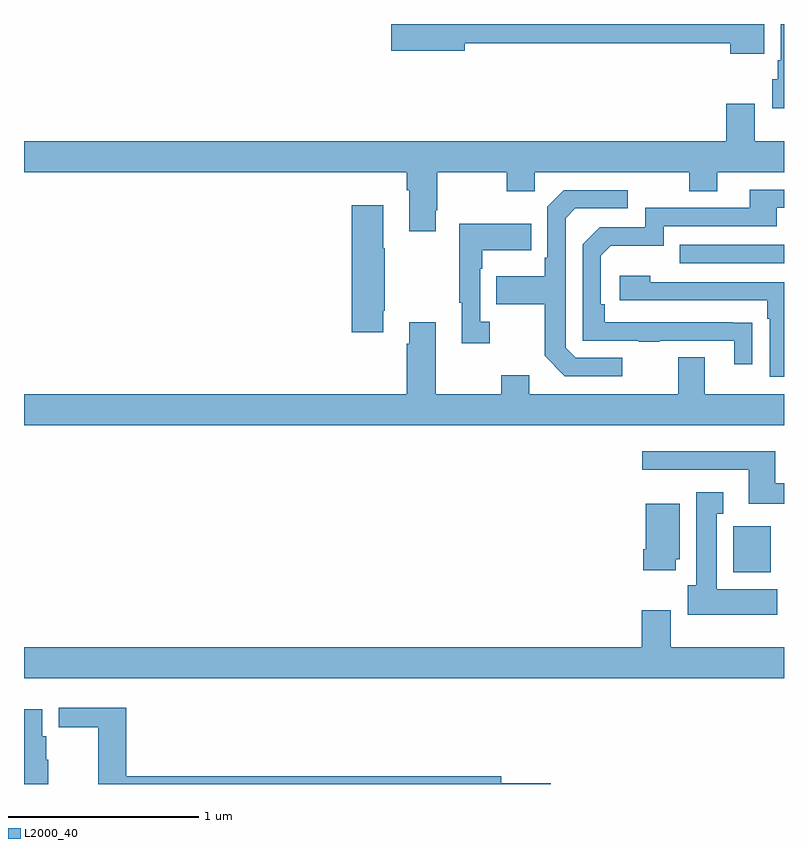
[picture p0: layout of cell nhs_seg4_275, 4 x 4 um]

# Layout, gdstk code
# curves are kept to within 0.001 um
import gdstk
lib = gdstk.Library(unit=1e-6, precision=1e-09)
def R(c, l, rs):  # rectangles x0, y0, x1, y1
    for r in rs: c.add(gdstk.rectangle(r[:2], r[2:], *l))
def P(c, l, *ps):  # polygons
    for p in ps: c.add(gdstk.Polygon(p, *l))
L2000_40 = (2000, 40)

nhs_seg4_275 = lib.new_cell('nhs_seg4_275')
R(nhs_seg4_275, L2000_40, [(126.734,828.014,126.931,828.256), (126.451,829.641,127,829.737)])
P(nhs_seg4_275, L2000_40, [(126.895,830.9),(124.932,830.9),(124.932,830.758),(125.32,830.758),(125.32,830.8),(126.716,830.8),(126.716,830.744),(126.895,830.744)],
  [(127,830.9),(126.983,830.9),(126.983,830.71),(126.968,830.71),(126.968,830.61),(126.938,830.61),(126.938,830.456),(127,830.456)],
  [(125.167,829.921),(125.175,829.921),(125.175,830.12),(125.542,830.12),(125.542,830.021),(125.688,830.021),(125.688,830.12),(126.502,830.12),(126.502,830.021),(126.649,830.021),(126.649,830.12),(127,830.12),(127,830.284),(126.847,830.284),(126.847,830.479),(126.695,830.479),(126.695,830.284),(123,830.284),(123,830.12),(125.015,830.12),(125.015,830.024),(125.027,830.024),(125.027,829.809),(125.167,829.809)],
  [(126.833,829.328),(126.056,829.329),(126.056,829.426),(126.036,829.426),(126.036,829.68),(126.089,829.733),(126.366,829.733),(126.366,829.836),(126.961,829.836),(126.961,829.932),(127,829.932),(127,830.028),(126.821,830.028),(126.821,829.932),(126.27,829.932),(126.27,829.83),(126.03,829.83),(125.94,829.74),(125.94,829.233),(126.235,829.233),(126.235,829.228),(126.347,829.228),(126.347,829.233),(126.737,829.233),(126.737,829.11),(126.833,829.11)],
  [(126.148,829.143),(125.904,829.143),(125.85,829.197),(125.85,829.878),(125.901,829.929),(126.178,829.929),(126.178,830.025),(125.841,830.025),(125.754,829.938),(125.754,829.669),(125.742,829.669),(125.742,829.573),(125.485,829.573),(125.485,829.426),(125.742,829.426),(125.742,829.153),(125.847,829.047),(126.148,829.047)],
  [(124.891,829.39),(124.899,829.39),(124.899,829.721),(124.891,829.721),(124.891,829.945),(124.724,829.945),(124.724,829.278),(124.891,829.278)],
  [(125.452,829.334),(125.4,829.334),(125.4,829.613),(125.413,829.613),(125.413,829.709),(125.669,829.709),(125.669,829.849),(125.292,829.849),(125.292,829.433),(125.303,829.433),(125.303,829.221),(125.452,829.221)],
  [(127,829.542),(126.296,829.542),(126.296,829.576),(126.135,829.576),(126.135,829.446),(126.911,829.446),(126.911,829.349),(126.924,829.349),(126.924,829.044),(127,829.044)],
  [(127,828.952),(126.583,828.952),(126.583,829.147),(126.443,829.147),(126.443,828.952),(125.659,828.952),(125.659,829.051),(125.512,829.051),(125.512,828.952),(125.167,828.952),(125.167,829.33),(125.027,829.33),(125.027,829.217),(125.015,829.217),(125.015,828.952),(123,828.952),(123,828.788),(127,828.788)],
  [(127,828.484),(126.955,828.484),(126.955,828.652),(126.255,828.652),(126.255,828.555),(126.815,828.555),(126.815,828.374),(127,828.374)],
  [(126.964,827.926),(126.646,827.926),(126.646,828.323),(126.679,828.323),(126.679,828.436),(126.539,828.436),(126.539,827.946),(126.494,827.946),(126.494,827.792),(126.964,827.792)],
  [(126.43,828.084),(126.451,828.084),(126.451,828.376),(126.272,828.376),(126.272,828.136),(126.26,828.136),(126.26,828.024),(126.43,828.024)],
  [(127,827.62),(126.403,827.62),(126.403,827.815),(126.251,827.815),(126.251,827.62),(123,827.62),(123,827.456),(127,827.456)],
  [(125.773,826.904),(125.512,826.904),(125.512,826.94),(123.539,826.94),(123.539,827.302),(123.183,827.302),(123.183,827.2),(123.392,827.2),(123.392,826.9),(125.773,826.9)],
  [(123.127,827.028),(123.118,827.028),(123.118,827.151),(123.097,827.151),(123.097,827.293),(123,827.293),(123,826.9),(123.127,826.9)])

lib.write_gds('nhs_seg4_275.gds')
